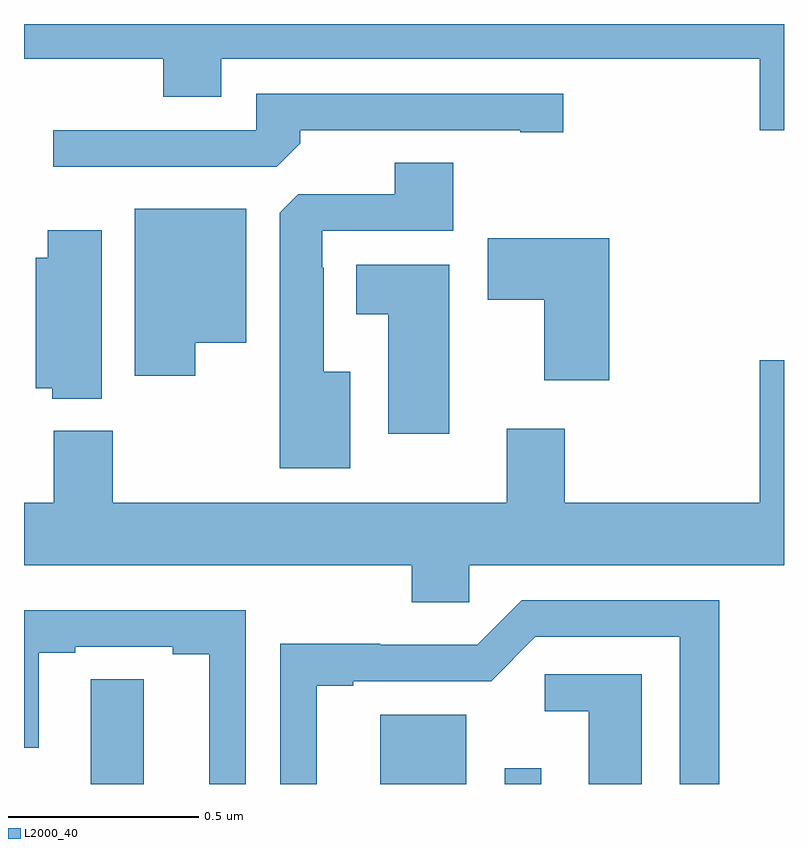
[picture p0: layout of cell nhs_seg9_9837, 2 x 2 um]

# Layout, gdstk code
import gdstk
lib = gdstk.Library(unit=1e-6, precision=1e-09)
def R(c, l, rs):  # rectangles x0, y0, x1, y1
    for r in rs: c.add(gdstk.rectangle(r[:2], r[2:], *l))
def P(c, l, *ps):  # polygons
    for p in ps: c.add(gdstk.Polygon(p, *l))
L2000_40 = (2000, 40)

nhs_seg9_9837 = lib.new_cell('nhs_seg9_9837')
R(nhs_seg9_9837, L2000_40, [(235.937,1206.5,236.164,1206.682), (236.265,1206.5,236.361,1206.541)])
P(nhs_seg9_9837, L2000_40, [(237,1208.5),(235,1208.5),(235,1208.408),(235.367,1208.408),(235.367,1208.309),(235.519,1208.309),(235.519,1208.408),(236.936,1208.408),(236.936,1208.22),(237,1208.22)],
  [(235.727,1208.186),(235.727,1208.22),(236.306,1208.22),(236.306,1208.215),(236.419,1208.215),(236.419,1208.316),(235.611,1208.316),(235.611,1208.22),(235.077,1208.22),(235.077,1208.124),(235.665,1208.124)],
  [(235.858,1207.585),(235.789,1207.585),(235.789,1207.859),(235.785,1207.859),(235.785,1207.956),(236.129,1207.956),(236.129,1208.135),(235.976,1208.135),(235.976,1208.052),(235.722,1208.052),(235.673,1208.003),(235.673,1207.331),(235.858,1207.331)],
  [(235.45,1207.661),(235.585,1207.661),(235.585,1208.014),(235.292,1208.014),(235.292,1207.575),(235.45,1207.575)],
  [(235.204,1207.957),(235.063,1207.957),(235.063,1207.885),(235.031,1207.885),(235.031,1207.541),(235.074,1207.541),(235.074,1207.514),(235.204,1207.514)],
  [(236.54,1207.936),(236.22,1207.936),(236.22,1207.774),(236.369,1207.774),(236.369,1207.563),(236.54,1207.563)],
  [(236.119,1207.867),(235.874,1207.867),(235.874,1207.736),(235.958,1207.736),(235.958,1207.422),(236.119,1207.422)],
  [(236.172,1207.076),(237,1207.076),(237,1207.615),(236.936,1207.615),(236.936,1207.24),(236.423,1207.24),(236.423,1207.435),(236.27,1207.435),(236.27,1207.24),(235.233,1207.24),(235.233,1207.429),(235.078,1207.429),(235.078,1207.24),(235,1207.24),(235,1207.076),(236.021,1207.076),(236.021,1206.978),(236.172,1206.978)],
  [(235.771,1206.759),(235.867,1206.759),(235.867,1206.771),(236.229,1206.771),(236.346,1206.888),(236.726,1206.888),(236.726,1206.5),(236.83,1206.5),(236.83,1206.984),(236.31,1206.984),(236.193,1206.867),(235.937,1206.867),(235.937,1206.869),(235.674,1206.869),(235.674,1206.5),(235.771,1206.5)],
  [(235.584,1206.957),(235,1206.957),(235,1206.595),(235.039,1206.595),(235.039,1206.846),(235.135,1206.846),(235.135,1206.861),(235.391,1206.861),(235.391,1206.841),(235.487,1206.841),(235.487,1206.5),(235.584,1206.5)],
  [(236.626,1206.789),(236.37,1206.789),(236.37,1206.692),(236.486,1206.692),(236.486,1206.5),(236.626,1206.5)],
  [(235.315,1206.776),(235.176,1206.776),(235.176,1206.668),(235.175,1206.668),(235.175,1206.5),(235.315,1206.5)])

lib.write_gds('nhs_seg9_9837.gds')
